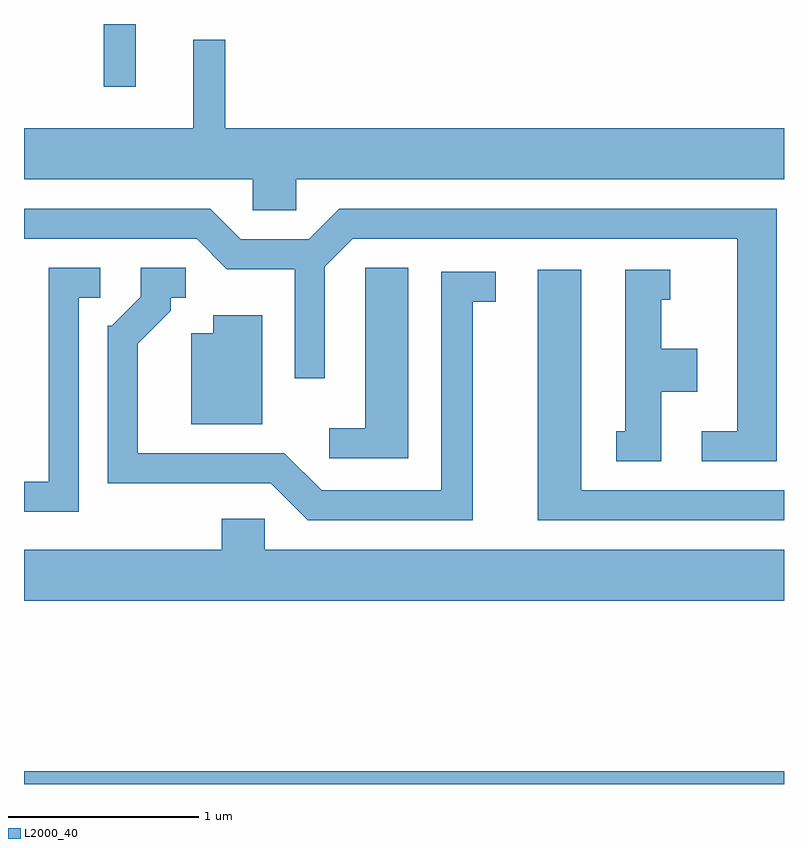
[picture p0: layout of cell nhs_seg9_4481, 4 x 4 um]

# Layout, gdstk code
import gdstk
lib = gdstk.Library(unit=1e-6, precision=1e-09)
def R(c, l, rs):  # rectangles x0, y0, x1, y1
    for r in rs: c.add(gdstk.rectangle(r[:2], r[2:], *l))
def P(c, l, *ps):  # polygons
    for p in ps: c.add(gdstk.Polygon(p, *l))
L2000_40 = (2000, 40)

nhs_seg9_4481 = lib.new_cell('nhs_seg9_4481')
R(nhs_seg9_4481, L2000_40, [(317.611,1966.432,321.611,1966.499), (318.031,1970.103,318.199,1970.432)])
P(nhs_seg9_4481, L2000_40, [(319.044,1969.616),(321.611,1969.616),(321.611,1969.884),(318.669,1969.884),(318.669,1970.348),(318.501,1970.348),(318.501,1969.884),(317.611,1969.884),(317.611,1969.616),(318.816,1969.616),(318.816,1969.451),(319.044,1969.451)],
  [(321.574,1969.459),(319.269,1969.459),(319.109,1969.299),(318.752,1969.299),(318.592,1969.459),(317.611,1969.459),(317.611,1969.301),(318.519,1969.301),(318.679,1969.141),(319.036,1969.141),(319.036,1968.568),(319.194,1968.568),(319.194,1969.154),(319.342,1969.301),(321.366,1969.301),(321.366,1968.289),(321.178,1968.289),(321.178,1968.131),(321.574,1968.131)],
  [(319.634,1969.149),(319.406,1969.149),(319.406,1968.304),(319.218,1968.304),(319.218,1968.146),(319.634,1968.146)],
  [(319.974,1968.971),(320.093,1968.971),(320.093,1969.129),(319.806,1969.129),(319.806,1967.979),(319.177,1967.979),(318.982,1968.174),(318.209,1968.174),(318.209,1968.749),(318.384,1968.924),(318.384,1968.991),(318.463,1968.991),(318.463,1969.149),(318.226,1969.149),(318.226,1968.997),(318.074,1968.844),(318.051,1968.844),(318.051,1968.016),(318.909,1968.016),(319.104,1967.821),(319.974,1967.821)],
  [(317.899,1968.991),(318.013,1968.991),(318.013,1969.149),(317.741,1969.149),(317.741,1968.024),(317.611,1968.024),(317.611,1967.866),(317.899,1967.866)],
  [(321.611,1967.979),(320.544,1967.979),(320.544,1969.139),(320.316,1969.139),(320.316,1967.821),(321.611,1967.821)],
  [(320.964,1968.496),(321.154,1968.496),(321.154,1968.724),(320.964,1968.724),(320.964,1968.981),(321.013,1968.981),(321.013,1969.139),(320.776,1969.139),(320.776,1968.289),(320.728,1968.289),(320.728,1968.131),(320.964,1968.131)],
  [(318.864,1968.899),(318.606,1968.899),(318.606,1968.804),(318.491,1968.804),(318.491,1968.326),(318.864,1968.326)],
  [(321.611,1967.664),(318.879,1967.664),(318.879,1967.829),(318.651,1967.829),(318.651,1967.664),(317.611,1967.664),(317.611,1967.396),(321.611,1967.396)])

lib.write_gds('nhs_seg9_4481.gds')
